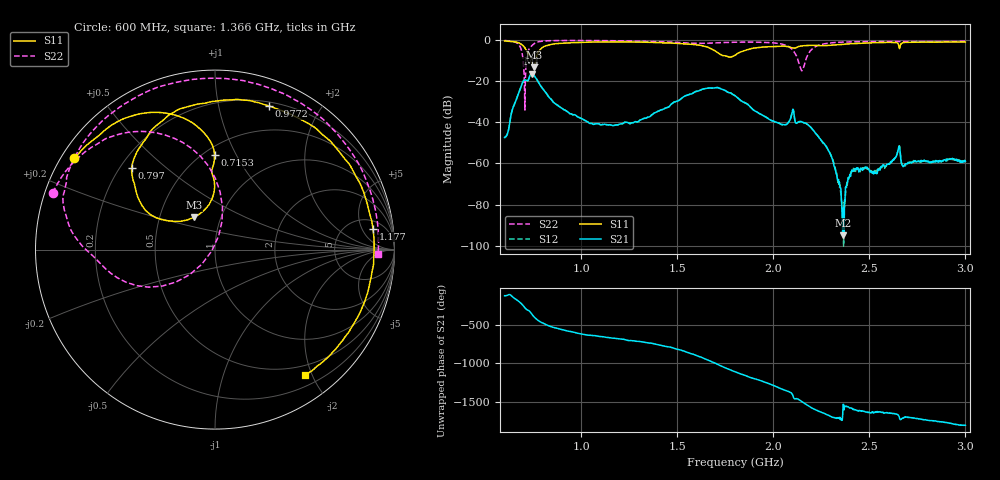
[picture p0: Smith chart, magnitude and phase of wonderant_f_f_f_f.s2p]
#  HZ  S  RI  R  50.00
! Rohde & Schwarz ZVB8 2Ports - Version 2.81 - 1145.1010k08 SN: 100113
! Date: 2016-05-17 22:38:27
! Measurements: S11 S21 S12 S22
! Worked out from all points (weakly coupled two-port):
!   1000 points, 600 MHz to 3 GHz, reference 50 ohm
!   highest |S21| = -16.44 dB at 741.7 MHz (marker M1); lowest = -94.8 dB at 2.361 GHz (marker M2)
!   lowest |S11| = -13.4 dB at 751.4 MHz (marker M3), VSWR 1.55, Z = 37.2 + j14 ohm
!   |S11| at or under -10 dB: 739.4 MHz to 761.7 MHz (22.29 MHz wide, 2.97 % of centre)
!   |S22| runs from -34.1 to -0.4 dB; largest |S21 - S12| = 0.0031
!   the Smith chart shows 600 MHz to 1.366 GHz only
!   S11 on the Smith chart (normalised r, x): 600 MHz: 0.04, +0.30; 715.3 MHz: 0.56, +0.82; 797 MHz: 0.25, +0.39; 977.2 MHz: 0.24, +1.42; 1.177 GHz: 8, +8; 1.366 GHz: 0.35, -1.89
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6e8  -0.7843 0.5077  -0.00248 -0.00343  -0.00238 -0.00344  -0.9039 0.3156
6.744745e8  -0.3415 0.7648  -0.0496 0.0186  -0.0498 0.0188  -0.3678 0.6565
7.153153e8  -0.00261 0.5273  0.0591 0.0835  0.0588 0.0834  -0.2951 -0.2034
7.417417e8  -0.0159 0.284  0.15 -0.0141  0.1492 -0.0146  -0.7174 -0.00195
7.513514e8  -0.1183 0.179  0.1147 -0.0781  0.1155 -0.0777  -0.7809 0.0733
7.96997e8  -0.4646 0.455  -0.0326 -0.0579  -0.032 -0.0586  -0.8175 0.4306
9.771772e8  0.3018 0.8  -0.00463 0.013  -0.00463 0.013  -0.2234 0.9301
1.001201e9  0.398 0.7638  -0.00183 0.0121  -0.00187 0.012  -0.1364 0.9467
1.176577e9  0.8797 0.117  0.00631 0.00579  0.00636 0.00581  0.5473 0.7696
1.366366e9  0.4994 -0.701  0.014 -0.00554  0.014 -0.00552  0.9079 -0.025
1.4e9  0.3506 -0.7797  0.014 -0.012  0.014 -0.012  0.8761 -0.1973
1.616216e9  -0.6017 -0.4214  -0.0567 0.0155  -0.0568 0.0152  0.0906 -0.8106
1.801201e9  -0.4191 -0.0434  0.0369 -0.0235  0.0367 -0.0233  -0.7121 -0.5005
1.902102e9  -0.5349 0.3319  -0.0097 -0.0163  -0.00955 -0.0164  -0.8749 -0.0127
2.027027e9  0.023 0.6941  -0.00533 0.00795  -0.00538 0.00791  -0.5801 0.5703
2.125526e9  0.4691 0.4729  0.00911 -0.0036  0.00908 -0.00346  -0.00362 0.3515
2.2e9  0.7279 0.0795  -0.00535 -0.00462  -0.00528 -0.00473  -0.5123 0.2786
2.300901e9  0.595 -0.4306  -0.00049 0.00146  -0.000502 0.00141  -0.2605 0.7991
2.360961e9  0.4129 -0.6503  -1.42e-05 1.15e-05  -5.23e-06 -3.43e-05  0.00768 0.8741
2.413814e9  0.1909 -0.7839  -0.000626 -0.000262  -0.000586 -0.000277  0.2336 0.8568
2.601201e9  -0.5998 -0.6189  -0.000906 0.0004  -0.000872 0.000416  0.7964 0.4289
3e9  -0.6532 0.5868  0.00112 -6.41e-05  0.00116 -6.24e-05  0.5384 -0.7379
